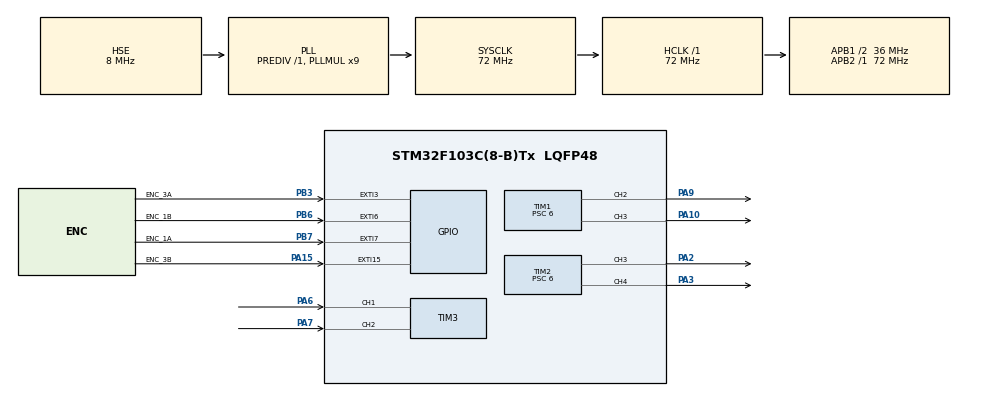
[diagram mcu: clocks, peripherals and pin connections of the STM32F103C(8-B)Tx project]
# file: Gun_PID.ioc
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FREERTOS.Tasks01=defaultTask,0,128,StartDefaultTask,Default,NULL,Dynamic,NULL,NULL
Mcu.Family=STM32F1
Mcu.Name=STM32F103C(8-B)Tx
Mcu.Package=LQFP48
NVIC.EXTI15_10_IRQn=true\:5\:0\:false\:false\:true\:true\:true\:true\:true
NVIC.EXTI3_IRQn=true\:5\:0\:false\:false\:true\:true\:true\:true\:true
NVIC.EXTI9_5_IRQn=true\:5\:0\:false\:false\:true\:true\:true\:true\:true
NVIC.PriorityGroup=NVIC_PRIORITYGROUP_4
NVIC.TIM4_IRQn=true\:15\:0\:false\:false\:true\:false\:false\:true\:true
NVIC.TimeBase=TIM4_IRQn
NVIC.TimeBaseIP=TIM4
PA10.Signal=S_TIM1_CH3
PA13.Mode=Serial_Wire
PA13.Signal=SYS_JTMS-SWDIO
PA14.Mode=Serial_Wire
PA14.Signal=SYS_JTCK-SWCLK
PA15.GPIO_Label=ENC_3B
PA15.GPIO_PuPd=GPIO_PULLUP
PA15.Signal=GPXTI15
PA2.Signal=S_TIM2_CH3
PA3.Signal=S_TIM2_CH4
PA6.Signal=S_TIM3_CH1
PA7.Signal=S_TIM3_CH2
PA9.Signal=S_TIM1_CH2
PB3.GPIO_Label=ENC_3A
PB3.GPIO_PuPd=GPIO_PULLUP
PB3.Signal=GPXTI3
PB6.GPIO_Label=ENC_1B
PB6.GPIO_PuPd=GPIO_PULLUP
PB6.Signal=GPXTI6
PB7.GPIO_Label=ENC_1A
PB7.GPIO_PuPd=GPIO_PULLUP
PB7.Signal=GPXTI7
PD0-OSC_IN.Mode=HSE-External-Oscillator
PD0-OSC_IN.Signal=RCC_OSC_IN
PD1-OSC_OUT.Mode=HSE-External-Oscillator
PD1-OSC_OUT.Signal=RCC_OSC_OUT
ProjectManager.HeapSize=0x200
ProjectManager.StackSize=0x400
ProjectManager.TargetToolchain=STM32CubeIDE
RCC.AHBFreq_Value=72000000
RCC.APB1CLKDivider=RCC_HCLK_DIV2
RCC.APB1Freq_Value=36000000
RCC.APB1TimFreq_Value=72000000
RCC.APB2Freq_Value=72000000
RCC.APB2TimFreq_Value=72000000
RCC.HCLKFreq_Value=72000000
RCC.PLLMUL=RCC_PLL_MUL9
RCC.PLLSourceVirtual=RCC_PLLSOURCE_HSE
RCC.SYSCLKFreq_VALUE=72000000
RCC.SYSCLKSource=RCC_SYSCLKSOURCE_PLLCLK
RCC.USBFreq_Value=72000000
SH.S_TIM1_CH2.0=TIM1_CH2,PWM Generation2 CH2
SH.S_TIM1_CH3.0=TIM1_CH3,PWM Generation3 CH3
SH.S_TIM2_CH3.0=TIM2_CH3,PWM Generation3 CH3
SH.S_TIM2_CH4.0=TIM2_CH4,PWM Generation4 CH4
SH.S_TIM3_CH1.0=TIM3_CH1,Encoder_Interface
SH.S_TIM3_CH2.0=TIM3_CH2,Encoder_Interface
TIM1.Channel-PWM\ Generation2\ CH2=TIM_CHANNEL_2
TIM1.Channel-PWM\ Generation3\ CH3=TIM_CHANNEL_3
TIM1.Period=999
TIM1.Prescaler=6
TIM2.Channel-PWM\ Generation3\ CH3=TIM_CHANNEL_3
TIM2.Channel-PWM\ Generation4\ CH4=TIM_CHANNEL_4
TIM2.Period=999
TIM2.Prescaler=6
TIM3.EncoderMode=TIM_ENCODERMODE_TI12
VP_FREERTOS_VS_CMSIS_V1.Mode=CMSIS_V1
VP_SYS_VS_tim4.Mode=TIM4
board=custom

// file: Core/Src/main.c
/* USER CODE BEGIN Header */
/**
  ******************************************************************************
  * @file           : main.c
  * @brief          : Main program body
  ******************************************************************************
  * @attention
  *
  * Copyright (c) 2024 STMicroelectronics.
  * All rights reserved.
  *
  * This software is licensed under terms that can be found in the LICENSE file
  * in the root directory of this software component.
  * If no LICENSE file comes with this software, it is provided AS-IS.
  *
  ******************************************************************************
  */
/* USER CODE END Header */
#include "main.h"
#include "cmsis_os.h"

/* USER CODE BEGIN Includes */
#include "Encoder.h"
#include "DriveMotor.h"
#include "PID.h"
/* USER CODE END Includes */

TIM_HandleTypeDef htim1;
TIM_HandleTypeDef htim2;
TIM_HandleTypeDef htim3;

osThreadId defaultTaskHandle;
/* USER CODE BEGIN PV */
float vel_Real;
float vel_Pre;
float vel_Fil;
int32_t count_Pre;
uint32_t count_PerRevol=200;
float deltaT = 0.005;
typedef struct Encoder_Gun{
	float vel_Real;
	float vel_Fil;
	float vel_Pre;
	int32_t count_Pre;
}Encoder_Gun;

Encoder_Gun ENC_Gun1;
Encoder_Gun ENC_Gun2;
EncoderRead ENC_Rotary;

MotorDrive Gun1;
MotorDrive Gun2;
MotorDrive Rotary;

PID_Param PID_Gun1;
PID_Param PID_Gun2;
PID_Param PID_Rotary_Speed;
PID_Param PID_Rotary_Pos;

int Target1,Target2;
/* USER CODE END PV */

void SystemClock_Config(void);
static void MX_GPIO_Init(void);
static void MX_TIM2_Init(void);
static void MX_TIM3_Init(void);
static void MX_TIM1_Init(void);
void StartDefaultTask(void const * argument);

/* USER CODE BEGIN 0 */
/*-----------------------------Begin:PID GUN1 Macro(SPEED)----------------------*/
#define Gun1Proportion 			0.5
#define Gun1Integral			10
#define Gun1Derivatite			0
#define Gun1Alpha				0
#define Gun1DeltaT				0.005
#define Gun1IntegralAboveLimit	500
#define Gun1IntegralBelowLimit	-500
#define Gun1SumAboveLimit 		500
#define Gun1SumBelowLimit		-500

/*-----------------------------End:PID GUN1 Macro(SPEED)------------------------*/

/*-----------------------------Begin:PID GUN2 Macro(SPEED)----------------------*/
#define Gun2Proportion 			0.8
#define Gun2Integral			10
#define Gun2Derivatite			0
#define Gun2Alpha				0
#define Gun2DeltaT				0.005
#define Gun2IntegralAboveLimit	500
#define Gun2IntegralBelowLimit	-500
#define Gun2SumAboveLimit 		500
#define Gun2SumBelowLimit		-500

/*-----------------------------End:PID GUN2 Macro(SPEED)------------------------*/
/*-----------------------------Begin:PID Rotary Macro(SPEED)----------------------*/
#define RotaryProportion 			10
#define RotaryIntegral				300
#define RotaryDerivatite			0
#define RotaryAlpha					0
#define RotaryDeltaT				0.005
#define RotaryIntegralAboveLimit	1000
#define RotaryIntegralBelowLimit	-1000
#define RotarySumAboveLimit 		1000
#define RotarySumBelowLimit			-1000

float Target3;
float Target4;
/*-----------------------------End:PID Rotary Macro(SPEED)------------------------*/

/*-----------------------------Begin:PID Rotary Macro(POS)------------------------*/
#define RotaryProportionPOS 				3
#define RotaryIntegralPOS					0
#define RotaryDerivatitePOS					0
#define RotaryAlphaPOS						0
#define RotaryDeltaTPOS						0.005
#define RotaryIntegralAboveLimitPOS			1000
#define RotaryIntegralBelowLimitPOS			-1000
#define RotarySumAboveLimitPOS				300
#define RotarySumBelowLimitPOS				-300
/*-----------------------------End:PID Rotary Macro(POS)------------------------*/

#define DCEncoderPerRound 					1000
#define DCGearRatio 						3.535 // tỉ số truy�?n 2 puly 1/4

int count1,count2;
void HAL_GPIO_EXTI_Callback(uint16_t GPIO_Pin){
	if(GPIO_Pin == ENC_3A_Pin){
		if(HAL_GPIO_ReadPin(ENC_3B_GPIO_Port, ENC_3B_Pin)){
			count1--;
		}
		else
			count1++;
	}
	if(GPIO_Pin == ENC_1A_Pin){
		if(HAL_GPIO_ReadPin(ENC_1B_GPIO_Port, ENC_1B_Pin)){
			count2++;
		}
		else
			count2--;
	}
	BaseType_t HigherPriorityTaskWoken = pdFALSE;
	portYIELD_FROM_ISR(HigherPriorityTaskWoken);
}

void VelCal(Encoder_Gun *enc,int count_X1,uint32_t count_PerRevol, float deltaT )
{
		enc->vel_Real = ((count_X1 - enc->count_Pre)/deltaT)/(count_PerRevol)*60;
		enc->vel_Fil = 0.854 *	enc->vel_Fil + 0.0728 * enc->vel_Real+ 0.0728 * enc->vel_Pre;
		enc->vel_Pre = enc->vel_Real;
		enc->count_Pre = count_X1;
}

void PIDGun1(){

	Pid_Cal(&PID_Gun1, Target1,ENC_Gun1.vel_Real);

	DC_Drive(&Gun1, &htim1, PID_Gun1.u, TIM_CHANNEL_3);
}
void PIDGun2(){

	Pid_Cal(&PID_Gun2, Target2, ENC_Gun2.vel_Real);

	DC_Drive(&Gun2, &htim1, PID_Gun2.u, TIM_CHANNEL_2);
}
void PID_ROTARY_SPEED(){
	SpeedReadNonReset(&ENC_Rotary);

	Pid_Cal(&PID_Rotary_Speed, Target3, ENC_Rotary.vel_Real);

	Gun_Drive(&Rotary, &htim2, PID_Rotary_Speed.u, TIM_CHANNEL_3, TIM_CHANNEL_4);
}
void PID_ROTARY_POS(){
	Pid_Cal(&PID_Rotary_Pos, Target4, CountRead(&ENC_Rotary, count_ModeDegree));

	Target3 = PID_Rotary_Pos.u;

	PID_ROTARY_SPEED();
}
/* USER CODE END 0 */

int main(void)
{

  /* MCU Configuration--------------------------------------------------------*/

  /* Reset of all peripherals, Initializes the Flash interface and the Systick. */
  HAL_Init();

  /* Configure the system clock */
  SystemClock_Config();

  /* Initialize all configured peripherals */
  MX_GPIO_Init();
  MX_TIM2_Init();
  MX_TIM3_Init();
  MX_TIM1_Init();
  /* USER CODE BEGIN 2 */
  HAL_TIM_PWM_Start(&htim1, TIM_CHANNEL_2);
  HAL_TIM_PWM_Start(&htim1, TIM_CHANNEL_3);
  HAL_TIM_PWM_Start(&htim2, TIM_CHANNEL_3);
  HAL_TIM_PWM_Start(&htim2, TIM_CHANNEL_4);
  HAL_TIM_Encoder_Start(&htim3, TIM_CHANNEL_ALL);
  Pid_SetParam(&PID_Gun1, Gun1Proportion, Gun1Integral, Gun1Derivatite, Gun1Alpha, Gun1DeltaT, Gun1IntegralAboveLimit, Gun1IntegralBelowLimit, Gun1SumAboveLimit, Gun1SumBelowLimit);
  Pid_SetParam(&PID_Gun2, Gun2Proportion, Gun2Integral, Gun2Derivatite, Gun2Alpha, Gun2DeltaT, Gun2IntegralAboveLimit, Gun2IntegralBelowLimit, Gun2SumAboveLimit, Gun2SumBelowLimit);
  Pid_SetParam(&PID_Rotary_Speed, RotaryProportion, RotaryIntegral, RotaryDerivatite, RotaryAlpha, RotaryDeltaT, RotaryIntegralAboveLimit, RotaryIntegralBelowLimit, RotarySumAboveLimit, RotarySumBelowLimit);
  Pid_SetParam(&PID_Rotary_Pos, RotaryProportionPOS, RotaryIntegralPOS, RotaryDerivatitePOS, RotaryAlphaPOS, RotaryDeltaTPOS, RotaryIntegralAboveLimitPOS, RotaryIntegralBelowLimitPOS, RotarySumAboveLimitPOS, RotarySumBelowLimitPOS);

  EncoderSetting(&ENC_Rotary, &htim3, 76000, 0.005);
  /* USER CODE END 2 */

  /* Create the thread(s) */
  /* definition and creation of defaultTask */
  osThreadDef(defaultTask, StartDefaultTask, osPriorityNormal, 0, 128);
  defaultTaskHandle = osThreadCreate(osThread(defaultTask), NULL);

  /* Start scheduler */
  osKernelStart();

  /* We should never get here as control is now taken by the scheduler */
  /* Infinite loop */
  while (1)
  {

  }
}

void SystemClock_Config(void)
{
  RCC_OscInitTypeDef RCC_OscInitStruct = {0};
  RCC_ClkInitTypeDef RCC_ClkInitStruct = {0};

  /** Initializes the RCC Oscillators according to the specified parameters
  * in the RCC_OscInitTypeDef structure.
  */
  RCC_OscInitStruct.OscillatorType = RCC_OSCILLATORTYPE_HSE;
  RCC_OscInitStruct.HSEState = RCC_HSE_ON;
  RCC_OscInitStruct.HSEPredivValue = RCC_HSE_PREDIV_DIV1;
  RCC_OscInitStruct.HSIState = RCC_HSI_ON;
  RCC_OscInitStruct.PLL.PLLState = RCC_PLL_ON;
  RCC_OscInitStruct.PLL.PLLSource = RCC_PLLSOURCE_HSE;
  RCC_OscInitStruct.PLL.PLLMUL = RCC_PLL_MUL9;
  if (HAL_RCC_OscConfig(&RCC_OscInitStruct) != HAL_OK)
  {
    Error_Handler();
  }

  /** Initializes the CPU, AHB and APB buses clocks
  */
  RCC_ClkInitStruct.ClockType = RCC_CLOCKTYPE_HCLK|RCC_CLOCKTYPE_SYSCLK
                              |RCC_CLOCKTYPE_PCLK1|RCC_CLOCKTYPE_PCLK2;
  RCC_ClkInitStruct.SYSCLKSource = RCC_SYSCLKSOURCE_PLLCLK;
  RCC_ClkInitStruct.AHBCLKDivider = RCC_SYSCLK_DIV1;
  RCC_ClkInitStruct.APB1CLKDivider = RCC_HCLK_DIV2;
  RCC_ClkInitStruct.APB2CLKDivider = RCC_HCLK_DIV1;

  if (HAL_RCC_ClockConfig(&RCC_ClkInitStruct, FLASH_LATENCY_2) != HAL_OK)
  {
    Error_Handler();
  }
}

static void MX_TIM1_Init(void)
{

  TIM_MasterConfigTypeDef sMasterConfig = {0};
  TIM_OC_InitTypeDef sConfigOC = {0};
  TIM_BreakDeadTimeConfigTypeDef sBreakDeadTimeConfig = {0};

  htim1.Instance = TIM1;
  htim1.Init.Prescaler = 6;
  htim1.Init.CounterMode = TIM_COUNTERMODE_UP;
  htim1.Init.Period = 999;
  htim1.Init.ClockDivision = TIM_CLOCKDIVISION_DIV1;
  htim1.Init.RepetitionCounter = 0;
  htim1.Init.AutoReloadPreload = TIM_AUTORELOAD_PRELOAD_DISABLE;
  if (HAL_TIM_PWM_Init(&htim1) != HAL_OK)
  {
    Error_Handler();
  }
  sMasterConfig.MasterOutputTrigger = TIM_TRGO_RESET;
  sMasterConfig.MasterSlaveMode = TIM_MASTERSLAVEMODE_DISABLE;
  if (HAL_TIMEx_MasterConfigSynchronization(&htim1, &sMasterConfig) != HAL_OK)
  {
    Error_Handler();
  }
  sConfigOC.OCMode = TIM_OCMODE_PWM1;
  sConfigOC.Pulse = 0;
  sConfigOC.OCPolarity = TIM_OCPOLARITY_HIGH;
  sConfigOC.OCNPolarity = TIM_OCNPOLARITY_HIGH;
  sConfigOC.OCFastMode = TIM_OCFAST_DISABLE;
  sConfigOC.OCIdleState = TIM_OCIDLESTATE_RESET;
  sConfigOC.OCNIdleState = TIM_OCNIDLESTATE_RESET;
  if (HAL_TIM_PWM_ConfigChannel(&htim1, &sConfigOC, TIM_CHANNEL_2) != HAL_OK)
  {
    Error_Handler();
  }
  if (HAL_TIM_PWM_ConfigChannel(&htim1, &sConfigOC, TIM_CHANNEL_3) != HAL_OK)
  {
    Error_Handler();
  }
  sBreakDeadTimeConfig.OffStateRunMode = TIM_OSSR_DISABLE;
  sBreakDeadTimeConfig.OffStateIDLEMode = TIM_OSSI_DISABLE;
  sBreakDeadTimeConfig.LockLevel = TIM_LOCKLEVEL_OFF;
  sBreakDeadTimeConfig.DeadTime = 0;
  sBreakDeadTimeConfig.BreakState = TIM_BREAK_DISABLE;
  sBreakDeadTimeConfig.BreakPolarity = TIM_BREAKPOLARITY_HIGH;
  sBreakDeadTimeConfig.AutomaticOutput = TIM_AUTOMATICOUTPUT_DISABLE;
  if (HAL_TIMEx_ConfigBreakDeadTime(&htim1, &sBreakDeadTimeConfig) != HAL_OK)
  {
    Error_Handler();
  }
  HAL_TIM_MspPostInit(&htim1);

}

static void MX_TIM2_Init(void)
{

  TIM_MasterConfigTypeDef sMasterConfig = {0};
  TIM_OC_InitTypeDef sConfigOC = {0};

  htim2.Instance = TIM2;
  htim2.Init.Prescaler = 6;
  htim2.Init.CounterMode = TIM_COUNTERMODE_UP;
  htim2.Init.Period = 999;
  htim2.Init.ClockDivision = TIM_CLOCKDIVISION_DIV1;
  htim2.Init.AutoReloadPreload = TIM_AUTORELOAD_PRELOAD_DISABLE;
  if (HAL_TIM_PWM_Init(&htim2) != HAL_OK)
  {
    Error_Handler();
  }
  sMasterConfig.MasterOutputTrigger = TIM_TRGO_RESET;
  sMasterConfig.MasterSlaveMode = TIM_MASTERSLAVEMODE_DISABLE;
  if (HAL_TIMEx_MasterConfigSynchronization(&htim2, &sMasterConfig) != HAL_OK)
  {
    Error_Handler();
  }
  sConfigOC.OCMode = TIM_OCMODE_PWM1;
  sConfigOC.Pulse = 0;
  sConfigOC.OCPolarity = TIM_OCPOLARITY_HIGH;
  sConfigOC.OCFastMode = TIM_OCFAST_DISABLE;
  if (HAL_TIM_PWM_ConfigChannel(&htim2, &sConfigOC, TIM_CHANNEL_3) != HAL_OK)
  {
    Error_Handler();
  }
  if (HAL_TIM_PWM_ConfigChannel(&htim2, &sConfigOC, TIM_CHANNEL_4) != HAL_OK)
  {
    Error_Handler();
  }
  HAL_TIM_MspPostInit(&htim2);

}

static void MX_TIM3_Init(void)
{

  TIM_Encoder_InitTypeDef sConfig = {0};
  TIM_MasterConfigTypeDef sMasterConfig = {0};

  htim3.Instance = TIM3;
  htim3.Init.Prescaler = 0;
  htim3.Init.CounterMode = TIM_COUNTERMODE_UP;
  htim3.Init.Period = 65535;
  htim3.Init.ClockDivision = TIM_CLOCKDIVISION_DIV1;
  htim3.Init.AutoReloadPreload = TIM_AUTORELOAD_PRELOAD_DISABLE;
  sConfig.EncoderMode = TIM_ENCODERMODE_TI12;
  sConfig.IC1Polarity = TIM_ICPOLARITY_RISING;
  sConfig.IC1Selection = TIM_ICSELECTION_DIRECTTI;
  sConfig.IC1Prescaler = TIM_ICPSC_DIV1;
  sConfig.IC1Filter = 0;
  sConfig.IC2Polarity = TIM_ICPOLARITY_RISING;
  sConfig.IC2Selection = TIM_ICSELECTION_DIRECTTI;
  sConfig.IC2Prescaler = TIM_ICPSC_DIV1;
  sConfig.IC2Filter = 0;
  if (HAL_TIM_Encoder_Init(&htim3, &sConfig) != HAL_OK)
  {
    Error_Handler();
  }
  sMasterConfig.MasterOutputTrigger = TIM_TRGO_RESET;
  sMasterConfig.MasterSlaveMode = TIM_MASTERSLAVEMODE_DISABLE;
  if (HAL_TIMEx_MasterConfigSynchronization(&htim3, &sMasterConfig) != HAL_OK)
  {
    Error_Handler();
  }

}

static void MX_GPIO_Init(void)
{
  GPIO_InitTypeDef GPIO_InitStruct = {0};

  /* GPIO Ports Clock Enable */
  __HAL_RCC_GPIOD_CLK_ENABLE();
  __HAL_RCC_GPIOA_CLK_ENABLE();
  __HAL_RCC_GPIOB_CLK_ENABLE();

  /*Configure GPIO pin : ENC_3B_Pin */
  GPIO_InitStruct.Pin = ENC_3B_Pin;
  GPIO_InitStruct.Mode = GPIO_MODE_IT_RISING;
  GPIO_InitStruct.Pull = GPIO_PULLUP;
  HAL_GPIO_Init(ENC_3B_GPIO_Port, &GPIO_InitStruct);

  /*Configure GPIO pins : ENC_3A_Pin ENC_1B_Pin ENC_1A_Pin */
  GPIO_InitStruct.Pin = ENC_3A_Pin|ENC_1B_Pin|ENC_1A_Pin;
  GPIO_InitStruct.Mode = GPIO_MODE_IT_RISING;
  GPIO_InitStruct.Pull = GPIO_PULLUP;
  HAL_GPIO_Init(GPIOB, &GPIO_InitStruct);

  /* EXTI interrupt init*/
  HAL_NVIC_SetPriority(EXTI3_IRQn, 5, 0);
  HAL_NVIC_EnableIRQ(EXTI3_IRQn);

  HAL_NVIC_SetPriority(EXTI9_5_IRQn, 5, 0);
  HAL_NVIC_EnableIRQ(EXTI9_5_IRQn);

  HAL_NVIC_SetPriority(EXTI15_10_IRQn, 5, 0);
  HAL_NVIC_EnableIRQ(EXTI15_10_IRQn);

}

void StartDefaultTask(void const * argument)
{
  /* USER CODE BEGIN 5 */
  /* Infinite loop */
  for(;;)
  {
	PIDGun1();
	VelCal(&ENC_Gun1,count1, 300,0.005);
	PIDGun2();
	VelCal(&ENC_Gun2, count2, 300, 0.005);

//	Gun_Drive(&Rotary, &htim2, Target3, TIM_CHANNEL_3, TIM_CHANNEL_4);
//	PID_ROTARY_SPEED();
//	Target4 = CountRead(&ENC_Rotary, count_ModeX1);
	PID_ROTARY_POS();
    osDelay(5);
  }
  /* USER CODE END 5 */
}

void HAL_TIM_PeriodElapsedCallback(TIM_HandleTypeDef *htim)
{
  if (htim->Instance == TIM4) {
    HAL_IncTick();
  }
}

void Error_Handler(void)
{
  __disable_irq();
  while (1)
  {
  }
}
